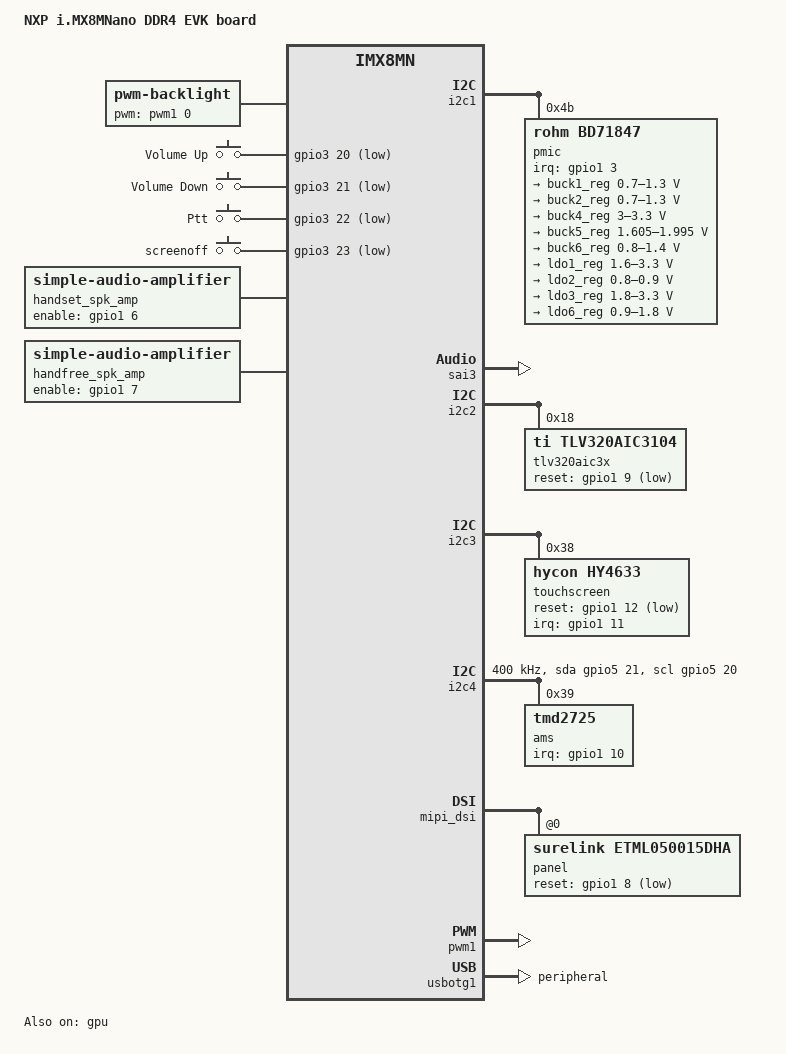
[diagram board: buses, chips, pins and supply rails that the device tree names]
// SPDX-License-Identifier: (GPL-2.0+ OR MIT)
/*
 * Copyright 2019 NXP
 */

/dts-v1/;

#include "imx8mn.dtsi"
#include "imx8mn-voip.dtsi"

/ {
	model = "NXP i.MX8MNano DDR4 EVK board";
	compatible = "fsl,imx8mn-ddr4-evk", "fsl,imx8mn";
};

&A53_0 {
	cpu-supply = <&buck2_reg>;
};

&A53_1 {
	cpu-supply = <&buck2_reg>;
};

&A53_2 {
	cpu-supply = <&buck2_reg>;
};

&A53_3 {
	cpu-supply = <&buck2_reg>;
};

&ddrc {
	operating-points-v2 = <&ddrc_opp_table>;

	ddrc_opp_table: opp-table {
		compatible = "operating-points-v2";

		opp-25M {
			opp-hz = /bits/ 64 <25000000>;
		};

		opp-100M {
			opp-hz = /bits/ 64 <100000000>;
		};

		opp-600M {
			opp-hz = /bits/ 64 <600000000>;
		};
	};
};

&i2c1 {
	pmic@4b {
		compatible = "rohm,bd71847";
		reg = <0x4b>;
		pinctrl-names = "default";
		pinctrl-0 = <&pinctrl_pmic>;
		interrupt-parent = <&gpio1>;
		interrupts = <3 IRQ_TYPE_LEVEL_LOW>;
		rohm,reset-snvs-powered;

		regulators {
			buck1_reg: BUCK1 {
				regulator-name = "buck1";
				regulator-min-microvolt = <700000>;
				regulator-max-microvolt = <1300000>;
				regulator-boot-on;
				regulator-always-on;
				regulator-ramp-delay = <1250>;
				rohm,dvs-run-voltage = <850000>;
				rohm,dvs-suspend-voltage = <750000>;
			};

			buck2_reg: BUCK2 {
				regulator-name = "buck2";
				regulator-min-microvolt = <700000>;
				regulator-max-microvolt = <1300000>;
				regulator-boot-on;
				regulator-always-on;
				regulator-ramp-delay = <1250>;
				rohm,dvs-run-voltage = <1000000>;
				rohm,dvs-idle-voltage = <900000>;
				rohm,dvs-suspend-voltage = <0>;
			};

			buck4_reg: BUCK4 {
				// BUCK6 in datasheet
				regulator-name = "buck4";
				regulator-min-microvolt = <3000000>;
				regulator-max-microvolt = <3300000>;
				regulator-boot-on;
				regulator-always-on;
			};

			buck5_reg: BUCK5 {
				// BUCK7 in datasheet
				regulator-name = "buck5";
				regulator-min-microvolt = <1605000>;
				regulator-max-microvolt = <1995000>;
				regulator-boot-on;
				regulator-always-on;
			};

			buck6_reg: BUCK6 {
				// BUCK8 in datasheet
				regulator-name = "buck6";
				regulator-min-microvolt = <800000>;
				regulator-max-microvolt = <1400000>;
				regulator-boot-on;
				regulator-always-on;
			};

			ldo1_reg: LDO1 {
				regulator-name = "ldo1";
				regulator-min-microvolt = <1600000>;
				regulator-max-microvolt = <3300000>;
				regulator-boot-on;
				regulator-always-on;
			};

			ldo2_reg: LDO2 {
				regulator-name = "ldo2";
				regulator-min-microvolt = <800000>;
				regulator-max-microvolt = <900000>;
				regulator-boot-on;
				regulator-always-on;
			};

			ldo3_reg: LDO3 {
				regulator-name = "ldo3";
				regulator-min-microvolt = <1800000>;
				regulator-max-microvolt = <3300000>;
				regulator-boot-on;
				regulator-always-on;
			};

			ldo6_reg: LDO6 {
				regulator-name = "ldo6";
				regulator-min-microvolt = <900000>;
				regulator-max-microvolt = <1800000>;
				regulator-boot-on;
				regulator-always-on;
			};
		};
	};
};

&gpu {
	assigned-clocks = <&clk IMX8MN_CLK_GPU_CORE_SRC>,
			<&clk IMX8MN_CLK_GPU_SHADER_SRC>,
			<&clk IMX8MN_CLK_GPU_AXI>,
			<&clk IMX8MN_CLK_GPU_AHB>,
			<&clk IMX8MN_GPU_PLL>,
			<&clk IMX8MN_CLK_GPU_CORE_DIV>,
			<&clk IMX8MN_CLK_GPU_SHADER_DIV>;
	assigned-clock-parents = <&clk IMX8MN_GPU_PLL_OUT>,
			<&clk IMX8MN_GPU_PLL_OUT>,
			<&clk IMX8MN_SYS_PLL1_800M>,
			<&clk IMX8MN_SYS_PLL1_800M>;
	assigned-clock-rates = <0>, <0>, <800000000>, <400000000>, <1200000000>,
			<400000000>, <400000000>;
	status= "okay";
};


/ {
	/delete-node/ audio-codec;
	/delete-node/ ir-receiver;
	/delete-node/ sound-wm8524;
	/delete-node/ sound-micfil;
	/delete-node/ sound-ak5558;
	/delete-node/ sound-ak5558;
	/delete-node/ gpio-leds;

	backlight: backlight {
		compatible = "pwm-backlight";
		pinctrl-names = "default";
		pwms = <&pwm1 0 20000 0>;	/* 700000 ns = 1337Hz */
		brightness-levels = <0 100>;
		num-interpolated-steps = <100>;
		default-brightness-level = <50>;
		status = "okay";
	};

	gpio-keys {

		compatible = "gpio-keys";
		pinctrl-names = "default";
		pinctrl-0 = <&pinctrl_gpio_keypad>;
		status = "okay";

		sw4: volume_up {
			label = "Volume Up";
			gpios = <&gpio3 20 GPIO_ACTIVE_LOW>;
			linux,code = <KEY_VOLUMEUP>;
		};

		sw3: volume_down {
			label = "Volume Down";
			gpios = <&gpio3 21 GPIO_ACTIVE_LOW>;
			linux,code = <KEY_VOLUMEDOWN>;
		};

		ptt {
			label = "Ptt";
			gpios = <&gpio3 22 GPIO_ACTIVE_LOW>;
			linux,code = <KEY_F3>;
		};

		screenoff {
			label = "screenoff";
			gpios = <&gpio3 23 GPIO_ACTIVE_LOW>;
			linux,code = <KEY_POWER>;
			wakeup-source;
		};

	};

	handset_spk_amp: analog-amplifier@0 {
		compatible = "simple-audio-amplifier";
		pinctrl-names = "default";
		pinctrl-0 = <&pinctrl_handset_spk_amp>;
		enable-gpios = <&gpio1 6 GPIO_ACTIVE_HIGH>;

		sound-name-prefix = "Handset Speaker Amp";
	};

	handfree_spk_amp: analog-amplifier@1 {
		compatible = "simple-audio-amplifier";
		pinctrl-names = "default";
		pinctrl-0 = <&pinctrl_handfree_spk_amp>;
		enable-gpios = <&gpio1 7 GPIO_ACTIVE_HIGH>;

		sound-name-prefix = "Handfree Speaker Amp";
	};

	sound_tlv320aic3104: sound-tlv320aic3104 {
		compatible = "simple-audio-card";
		simple-audio-card,name = "tlv320aic3104-audio";
		simple-audio-card,format = "i2s";
		simple-audio-card,frame-master = <&codecdai>;
		simple-audio-card,bitclock-master = <&codecdai>;
		simple-audio-card,aux-devs = <&handset_spk_amp>, <&handfree_spk_amp>;
		simple-audio-card,widgets =
			"Line", "Line IN",
			"Speaker", "Handfree Speaker",
			"Speaker", "Handset Speaker";
		simple-audio-card,routing =
			"LINE1L", "Line IN",
			"LINE1R", "Line IN",
			"Handfree Speaker Amp INL", "LLOUT",
			"Handset Speaker Amp INR", "RLOUT",
			"Handfree Speaker", "Handfree Speaker Amp OUTL",
			"Handset Speaker", "Handset Speaker Amp OUTR";

		cpudai: simple-audio-card,cpu {
			sound-dai = <&sai3>;
	/*		dai-tdm-slot-num = <2>;
			dai-tdm-slot-width = <32>;*/
		};

		codecdai: simple-audio-card,codec {
			sound-dai = <&tlv320aic3x>;
			clocks = <&clk IMX8MN_CLK_SAI3_ROOT>;
		};
	};
};

&sai3 {
	#sound-dai-cells = <0>;
	pinctrl-names = "default";
	pinctrl-0 = <&pinctrl_sai3>;
	assigned-clocks = <&clk IMX8MN_CLK_SAI3>;
	assigned-clock-parents = <&clk IMX8MN_AUDIO_PLL1_OUT>;
	assigned-clock-rates = <24576000>;
	status = "okay";
};

&adv_bridge {
	status = "disabled";
};

&usdhc1 {
	status = "disabled";
};

&i2c2 {
	/delete-node/ tcpc@50;

	tlv320aic3x: tlv320aic3x@18 {
		#sound-dai-cells = <0>;
		compatible = "ti,tlv320aic3104";
		pinctrl-names = "default";
		pinctrl-0 = <&pinctrl_audio_reset>;
		reg = <0x18>;
		status = "okay";
		ai3x-micbias-vg = <0x3>;
		gpio-reset = <&gpio1 9 GPIO_ACTIVE_LOW>;
	};

};

&i2c3 {
	/delete-node/ ak5558@13;
	/delete-node/ ak4497@11;
	/delete-node/ ov5640_mipi@3c;
	touchscreen@38 {
	        compatible = "hycon,hy4633";
	        reg = <0x38>;
		pinctrl-0 = <&pinctrl_ts>;
	        interrupt-parent = <&gpio1>;
	        interrupts = <11 IRQ_TYPE_EDGE_FALLING>;
	        reset-gpios = <&gpio1 12 GPIO_ACTIVE_LOW>;
	};
};

&i2c4 {
	clock-frequency = <400000>;
	pinctrl-names = "default", "gpio";
	pinctrl-0 = <&pinctrl_i2c4>;
	pinctrl-1 = <&pinctrl_i2c4_gpio>;
	scl-gpios = <&gpio5 20 GPIO_ACTIVE_HIGH>;
	sda-gpios = <&gpio5 21 GPIO_ACTIVE_HIGH>;
	status = "ok";
	
	ams@39 {
		compatible = "tmd2725";
		reg = <0x39>;
		interrupt-parent = <&gpio1>;
		interrupts = <10 IRQ_TYPE_EDGE_FALLING>;
		tmd,irq-gpio = <&gpio1 10 0x2002>;
		pinctrl-names = "tmd2725_default";
		pinctrl-0 = <&tmd2725_default>;
		tmd,power_always_on = <1>;
		tmd,has_als = <1>;
		tmd,has_ps = <1>;
		tmd,tp_moudle_count = <3>;
		//[module_id] [which_seg] [d_factor] ch0[1] ch1[0] ch0[1] ch1[0]
		tmd,tp0 = "0","0","589","1000","213","708","73";
		//[module_id] [which_seg] [d_factor] ch0[1] ch1[0] ch0[1] ch1[0]
		tmd,tp1 = "1","1","615","932","260","800","270";
		//[module_id] [which_seg] [d_factor] ch0[1] ch1[0] ch0[1] ch1[0]
		tmd,tp2 = "2","0","615","1000","260","800","270";
	};
};

&mipi_dsi {
	panel@0 {
		compatible = "surelink,etml050015dha"; 
		reg = <0>;
		pinctrl-0 = <&pinctrl_mipi_dsi_en_open_drain>;
		reset-gpio = <&gpio1 8 GPIO_ACTIVE_LOW>;
		dsi-lanes = <4>;
		video-mode = <2>; /* 0: burst mode
					       * 1: non-burst mode with sync event
					       * 2: non-burst mode with sync pulse
					       * 3: command mode
					       */
		panel-width-mm = <68>;
		panel-height-mm = <121>;
		timing-mode = <2>;
		status = "okay";
	};
};


&pwm1 {
	status = "okay";
	pinctrl-names = "default";
	pinctrl-0 = <&pinctrl_bl>;
};

&iomuxc {

	/delete-node/ synaptics_dsx_iogrp;
	/delete-node/ gpioledgrp;
	/delete-node/ csi_rst_grp;
	/* This is for both PWM and voltage regulators for display */

	pinctrl_gpio_keypad: gpiokeygrp2 {
		fsl,pins = <
			MX8MN_IOMUXC_SAI5_RXC_GPIO3_IO20	0x16
			MX8MN_IOMUXC_SAI5_RXD0_GPIO3_IO21	0x16
			MX8MN_IOMUXC_SAI5_RXD1_GPIO3_IO22	0x16
			MX8MN_IOMUXC_SAI5_RXD2_GPIO3_IO23	0x16
		>;
	};

	pinctrl_bl: pwm1grp {
		fsl,pins = <
			MX8MN_IOMUXC_GPIO1_IO01_PWM1_OUT	0x16
		>;
	};

	pinctrl_ts: touchgrp {
		fsl,pins = <
			MX8MN_IOMUXC_GPIO1_IO11_GPIO1_IO11	0x16	
			MX8MN_IOMUXC_GPIO1_IO12_GPIO1_IO12	0x16	
		>;
	};

	tmd2725_default: blgrp {
		fsl,pins = <
			MX8MN_IOMUXC_GPIO1_IO10_GPIO1_IO10	0x16	
		>;
	};

	pinctrl_audio_reset: audio-reset {
		fsl,pins = <
			MX8MN_IOMUXC_GPIO1_IO09_GPIO1_IO9	0x19
		>;
	};

	pinctrl_handset_spk_amp: audioamp1 {
		fsl,pins = <
			MX8MN_IOMUXC_GPIO1_IO06_GPIO1_IO6	0x19
		>;
	};

	pinctrl_handfree_spk_amp: audioamp2 {
		fsl,pins = <
			MX8MN_IOMUXC_GPIO1_IO07_GPIO1_IO7	0x19
		>;
	};

	pinctrl_mipi_dsi_en_open_drain: mipi_dsi_en_open_drain {
		fsl,pins = <
			MX8MN_IOMUXC_GPIO1_IO08_GPIO1_IO8	0x36
		>;
	};
};

&mipi_csi_1 {
	/delete-node/ port@0;

};


&usbotg1 {

        dr_mode = "peripheral"; 
        srp-disable;
        hnp-disable;
        adp-disable;
        disable-over-current;

        /delete-property/ usb-role-switch;

        status = "okay";
};

&usdhc2 {
        status = "disabled";
};


&cpu_alert0 {
       temperature = <100000>;
};

&cpu_crit0 {
       temperature = <105000>;
};
